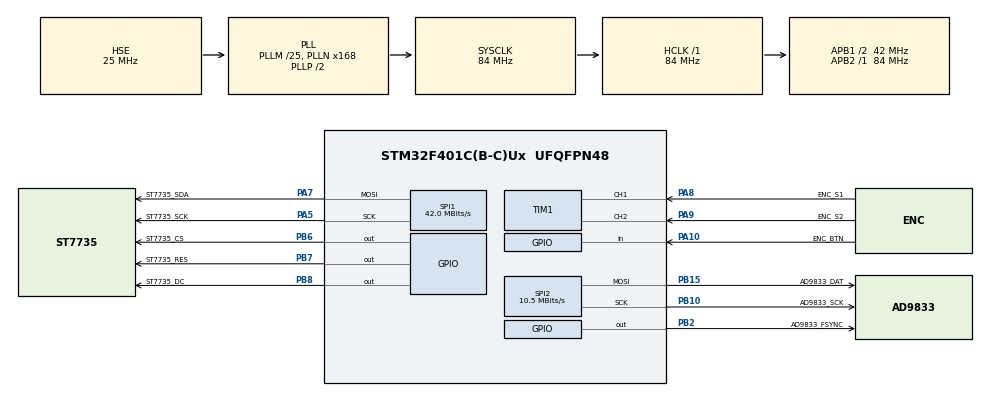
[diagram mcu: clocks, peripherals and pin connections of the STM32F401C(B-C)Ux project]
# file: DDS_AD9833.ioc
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Mcu.Family=STM32F4
Mcu.Name=STM32F401C(B-C)Ux
Mcu.Package=UFQFPN48
NVIC.PriorityGroup=NVIC_PRIORITYGROUP_4
PA10.GPIO_Label=ENC_BTN
PA10.Signal=GPIO_Input
PA5.GPIO_Label=ST7735_SCK
PA5.Mode=TX_Only_Simplex_Unidirect_Master
PA5.Signal=SPI1_SCK
PA7.GPIO_Label=ST7735_SDA
PA7.Mode=TX_Only_Simplex_Unidirect_Master
PA7.Signal=SPI1_MOSI
PA8.GPIO_Label=ENC_S1
PA8.Signal=S_TIM1_CH1
PA9.GPIO_Label=ENC_S2
PA9.Signal=S_TIM1_CH2
PB10.GPIO_Label=AD9833_SCK
PB10.Mode=TX_Only_Simplex_Unidirect_Master
PB10.Signal=SPI2_SCK
PB15.GPIO_Label=AD9833_DAT
PB15.Mode=TX_Only_Simplex_Unidirect_Master
PB15.Signal=SPI2_MOSI
PB2.GPIO_Label=AD9833_FSYNC
PB2.Signal=GPIO_Output
PB6.GPIO_Label=ST7735_CS
PB6.Signal=GPIO_Output
PB7.GPIO_Label=ST7735_RES
PB7.Signal=GPIO_Output
PB8.GPIO_Label=ST7735_DC
PB8.Signal=GPIO_Output
PH0\ -\ OSC_IN.Mode=HSE-External-Oscillator
PH0\ -\ OSC_IN.Signal=RCC_OSC_IN
PH1\ -\ OSC_OUT.Mode=HSE-External-Oscillator
PH1\ -\ OSC_OUT.Signal=RCC_OSC_OUT
ProjectManager.HeapSize=0x200
ProjectManager.StackSize=0x400
ProjectManager.TargetToolchain=STM32CubeIDE
RCC.48MHZClocksFreq_Value=42000000
RCC.AHBFreq_Value=84000000
RCC.APB1CLKDivider=RCC_HCLK_DIV2
RCC.APB1Freq_Value=42000000
RCC.APB1TimFreq_Value=84000000
RCC.APB2Freq_Value=84000000
RCC.APB2TimFreq_Value=84000000
RCC.CortexFreq_Value=84000000
RCC.HCLKFreq_Value=84000000
RCC.HSE_VALUE=25000000
RCC.HSI_VALUE=16000000
RCC.LSE_VALUE=32768
RCC.PLLM=25
RCC.PLLN=168
RCC.PLLSourceVirtual=RCC_PLLSOURCE_HSE
RCC.SYSCLKFreq_VALUE=84000000
RCC.SYSCLKSource=RCC_SYSCLKSOURCE_PLLCLK
RCC.VCOOutputFreq_Value=168000000
SH.S_TIM1_CH1.0=TIM1_CH1,Encoder_Interface
SH.S_TIM1_CH2.0=TIM1_CH2,Encoder_Interface
SPI1.BaudRatePrescaler=SPI_BAUDRATEPRESCALER_2
SPI1.CalculateBaudRate=42.0 MBits/s
SPI1.Direction=SPI_DIRECTION_2LINES
SPI1.Mode=SPI_MODE_MASTER
SPI1.VirtualType=VM_MASTER
SPI2.BaudRatePrescaler=SPI_BAUDRATEPRESCALER_4
SPI2.CLKPolarity=SPI_POLARITY_HIGH
SPI2.CalculateBaudRate=10.5 MBits/s
SPI2.Direction=SPI_DIRECTION_2LINES
SPI2.Mode=SPI_MODE_MASTER
SPI2.VirtualType=VM_MASTER
TIM1.IC2Filter=4
TIM1.IC2Prescaler=TIM_ICPSC_DIV1
board=custom

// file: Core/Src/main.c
/* USER CODE BEGIN Header */
/**
  ******************************************************************************
  * @file           : main.c
  * @brief          : Main program body
  ******************************************************************************
  * @attention
  *
  * <h2><center>&copy; Copyright (c) 2021 STMicroelectronics.
  * All rights reserved.</center></h2>
  *
  * This software component is licensed by ST under BSD 3-Clause license,
  * the "License"; You may not use this file except in compliance with the
  * License. You may obtain a copy of the License at:
  *                        opensource.org/licenses/BSD-3-Clause
  *
  ******************************************************************************
  */
/* USER CODE END Header */
#include "main.h"
#include "spi.h"
#include "tim.h"
#include "gpio.h"

/* USER CODE BEGIN Includes */
#include "encoder.h"
#include "AD9833.h"
#include "st7735.h"
#include "fonts.h"
/* USER CODE END Includes */

/* USER CODE BEGIN PTD */
Color_TypeDef text_color = {ST7735_WHITE, ST7735_BLACK, ST7735_BLACK, ST7735_YELLOW};
Selector_TypeDef Menu_Selector = Main_Menu;

/* USER CODE END PTD */

/* USER CODE BEGIN PV */
int8_t encoder_status;
uint8_t button_status;
uint32_t freq = 100;
int8_t edit_pos = 2;
int8_t waveform_select = 2;
uint16_t MHz, kHz, Hz;
char Str_Buffer[10];

uint8_t short_press_flag = 0;
uint8_t hide_apply_flag = 0;
uint32_t curr_time = 0;
/* USER CODE END PV */

void SystemClock_Config(void);

int main(void)
{

  /* MCU Configuration--------------------------------------------------------*/

  /* Reset of all peripherals, Initializes the Flash interface and the Systick. */
  HAL_Init();

  /* Configure the system clock */
  SystemClock_Config();

  /* Initialize all configured peripherals */
  MX_GPIO_Init();
  MX_SPI1_Init();
  MX_SPI2_Init();
  MX_TIM1_Init();
  /* USER CODE BEGIN 2 */
  ST7735_Init();
  Encoder_Init();
  AD9833_Init(wave_sine, freq, 0);
  /* USER CODE END 2 */

  /* Infinite loop */
  /* USER CODE BEGIN WHILE */

  ST7735_FillScreen(ST7735_BLACK);
  ST7735_WriteString(10, 4, "AD9833 DDS GENERATOR", Font_7x10, ST7735_DARKGREY, ST7735_BLACK);

  ST7735_FillRectangle(25, 70, 12, 2, ST7735_DARKGREY);
  ST7735_FillRectangle(49, 70, 35, 2, ST7735_DARKGREY);
  ST7735_FillRectangle(97, 70, 35, 2, ST7735_DARKGREY);
  ST7735_WriteString(21, 75, "MHz  kHz    Hz", Font_7x10, ST7735_DARKGREY, ST7735_BLACK);

  MHz = freq / 1000000;
  kHz = freq / 1000 % 1000;
  Hz = freq % 1000;
  sprintf(Str_Buffer, "%1d,%03d,%03d", MHz, kHz, Hz);
  SineIcon(18, 92, ST7735_YELLOW);
  SquareIcon(63, 92, ST7735_LIGHTGREY);
  TriangleIcon(108, 92, ST7735_LIGHTGREY);

  while (1)
  {
	  //TODO: Stop counting Encoder Tim because its influences to position
	  button_status = Button_Get_Status();

	  switch(Menu_Selector) {
		  case Main_Menu:
			  ST7735_WriteString(25, 50, Str_Buffer, Font_12x18, ST7735_WHITE, ST7735_BLACK);
			  if((HAL_GetTick() - curr_time > APPLY_SHOW_TIME) && hide_apply_flag) {
				  ST7735_WriteString(30, 30, "               ", Font_7x10, ST7735_DARKGREY, ST7735_BLACK);
				  hide_apply_flag = 0;
			  }
			  if (button_status == Short_Press) Menu_Selector = Change_Frequency;
			  if (button_status == Long_Press) Menu_Selector = Change_Wave_Form;
			  break;

		  case Change_Wave_Form:
			  ST7735_WriteString(30, 30, "Change Waveform", Font_7x10, ST7735_DARKGREY, ST7735_BLACK);
			  ST7735_WriteString(25, 50, Str_Buffer, Font_12x18, ST7735_WHITE, ST7735_BLACK);
			  Change_Position(&waveform_select, MAX_WAVEFORM);
			  if (waveform_select == wave_sine) {
				  SineIcon(18, 92, ST7735_YELLOW);
				  SquareIcon(63, 92, ST7735_LIGHTGREY);
				  TriangleIcon(108, 92, ST7735_LIGHTGREY);
			  }
			  else if (waveform_select == wave_square) {
				  SineIcon(18, 92, ST7735_LIGHTGREY);
				  SquareIcon(63, 92, ST7735_YELLOW);
				  TriangleIcon(108, 92, ST7735_LIGHTGREY);
			  }
			  else if (waveform_select == wave_triangle) {
				  SineIcon(18, 92, ST7735_LIGHTGREY);
				  SquareIcon(63, 92, ST7735_LIGHTGREY);
				  TriangleIcon(108, 92, ST7735_YELLOW);
			  }

			  if (button_status == Short_Press) {
				  AD9833_SetWaveform(waveform_select);
				  Menu_Selector = Main_Menu;
				  ST7735_WriteString(30, 30, "    Apply!     ", Font_7x10, ST7735_DARKGREY, ST7735_BLACK);
				  hide_apply_flag = 1;
				  curr_time = HAL_GetTick();
			  }
			  if (button_status == Long_Press) {
//				  Menu_Selector = Main_Menu;
//				  or something else?
			  }
			  break;

		  case Change_Frequency:
			  ST7735_WriteString(30, 30, "Edit Frequency ", Font_7x10, ST7735_DARKGREY, ST7735_BLACK);
			  (short_press_flag) ? Edit_Frequency(edit_pos, &freq) : Change_Position(&edit_pos, MAX_DIGITS);

			  MHz = freq / 1000000;
			  kHz = freq / 1000 % 1000;
			  Hz = freq % 1000;

			  sprintf(Str_Buffer, "%1d,%03d,%03d", MHz, kHz, Hz);
			  ST7735_WriteStringWithSelect(25, 50, Str_Buffer, Font_12x18, edit_pos, text_color);

			  if (button_status == Short_Press) {
				  short_press_flag = !short_press_flag;
			  }
			  if (button_status == Long_Press) {
				  AD9833_SetFrequency(freq);
				  ST7735_WriteString(30, 30, "    Apply!    ", Font_7x10, ST7735_DARKGREY, ST7735_BLACK);
				  hide_apply_flag = 1;
				  curr_time = HAL_GetTick();
				  Menu_Selector = Main_Menu;
				  short_press_flag = 0;
			  }
			  break;

		  case Sweep_Mode:
			  //TODO: Sweep

			  break;

		  default:
			  break;
	  }

    /* USER CODE END WHILE */

  }
}

void SystemClock_Config(void)
{
  RCC_OscInitTypeDef RCC_OscInitStruct = {0};
  RCC_ClkInitTypeDef RCC_ClkInitStruct = {0};

  /** Configure the main internal regulator output voltage
  */
  __HAL_RCC_PWR_CLK_ENABLE();
  __HAL_PWR_VOLTAGESCALING_CONFIG(PWR_REGULATOR_VOLTAGE_SCALE2);
  /** Initializes the RCC Oscillators according to the specified parameters
  * in the RCC_OscInitTypeDef structure.
  */
  RCC_OscInitStruct.OscillatorType = RCC_OSCILLATORTYPE_HSE;
  RCC_OscInitStruct.HSEState = RCC_HSE_ON;
  RCC_OscInitStruct.PLL.PLLState = RCC_PLL_ON;
  RCC_OscInitStruct.PLL.PLLSource = RCC_PLLSOURCE_HSE;
  RCC_OscInitStruct.PLL.PLLM = 25;
  RCC_OscInitStruct.PLL.PLLN = 168;
  RCC_OscInitStruct.PLL.PLLP = RCC_PLLP_DIV2;
  RCC_OscInitStruct.PLL.PLLQ = 4;
  if (HAL_RCC_OscConfig(&RCC_OscInitStruct) != HAL_OK)
  {
    Error_Handler();
  }
  /** Initializes the CPU, AHB and APB buses clocks
  */
  RCC_ClkInitStruct.ClockType = RCC_CLOCKTYPE_HCLK|RCC_CLOCKTYPE_SYSCLK
                              |RCC_CLOCKTYPE_PCLK1|RCC_CLOCKTYPE_PCLK2;
  RCC_ClkInitStruct.SYSCLKSource = RCC_SYSCLKSOURCE_PLLCLK;
  RCC_ClkInitStruct.AHBCLKDivider = RCC_SYSCLK_DIV1;
  RCC_ClkInitStruct.APB1CLKDivider = RCC_HCLK_DIV2;
  RCC_ClkInitStruct.APB2CLKDivider = RCC_HCLK_DIV1;

  if (HAL_RCC_ClockConfig(&RCC_ClkInitStruct, FLASH_LATENCY_2) != HAL_OK)
  {
    Error_Handler();
  }
}

/* USER CODE BEGIN 4 */
void Edit_Frequency(int8_t position, uint32_t *p_freq)
{
	uint32_t pos_to_Hz = int_pow(10, position);
	uint32_t edit_value = *p_freq / pos_to_Hz;

	switch(Encoder_Get_Status()) {
		  case Incremented:
			  edit_value++;
			  break;
		  case Decremented:
			  if(edit_value > 0)
				  edit_value--;
			  break;
		  case Neutral:
			  break;
	  }

	uint32_t edited_freq = edit_value * pos_to_Hz + *p_freq % pos_to_Hz;

	if (edited_freq <= MAX_FREQ_VALUE)
		*p_freq = edited_freq;
}

void Change_Position(int8_t *edit_pos, uint8_t MAX_POS)
{
	switch(Encoder_Get_Status()) {
		case Incremented:
			(*edit_pos)--;
			if (*edit_pos < 0) *edit_pos = MAX_POS - 1;
			break;
		case Decremented:
			(*edit_pos)++;
			if (*edit_pos >= MAX_POS) *edit_pos = 0;
			break;
		case Neutral:
			break;
	}
}

uint32_t int_pow(uint32_t base, uint8_t exp)
{
    uint32_t result = 1;
    while (exp) {
        if (exp % 2)
           result *= base;
        exp /= 2;
        base *= base;
    }
    return result;
}
/* USER CODE END 4 */

void Error_Handler(void)
{
  __disable_irq();
  while (1)
  {
  }
}

/************************ (C) COPYRIGHT STMicroelectronics *****END OF FILE****/
